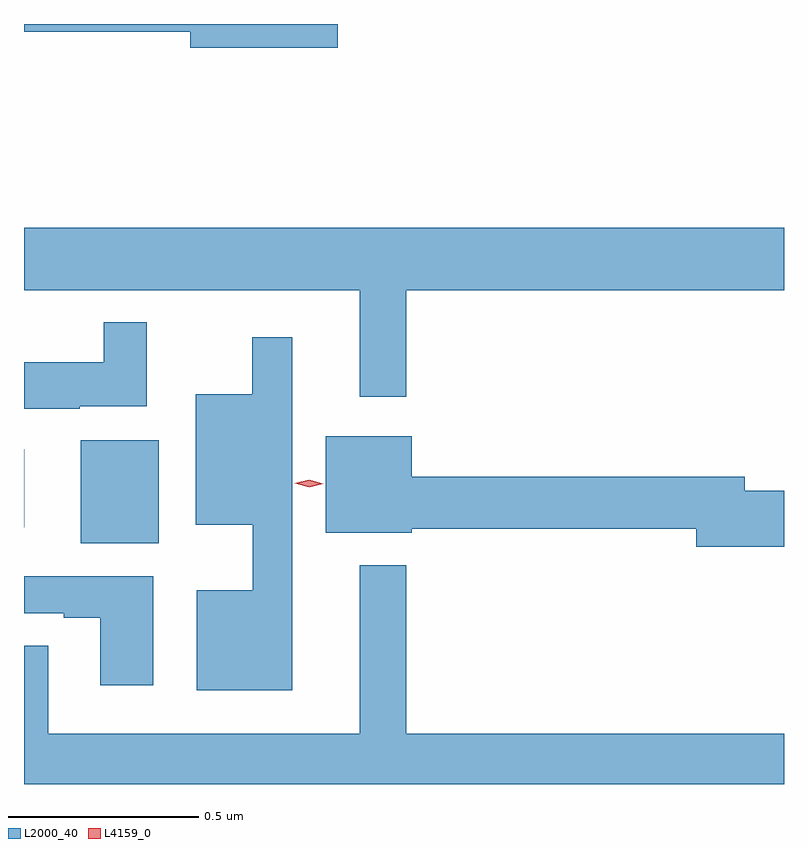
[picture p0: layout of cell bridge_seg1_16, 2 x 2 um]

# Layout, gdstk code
import gdstk
lib = gdstk.Library(unit=1e-6, precision=1e-09)
def R(c, l, rs):  # rectangles x0, y0, x1, y1
    for r in rs: c.add(gdstk.rectangle(r[:2], r[2:], *l))
def P(c, l, *ps):  # polygons
    for p in ps: c.add(gdstk.Polygon(p, *l))
L2000_40 = (2000, 40)
L4159_0 = (4159, 0)

bridge_seg1_16 = lib.new_cell('bridge_seg1_16')
R(bridge_seg1_16, L2000_40, [(838.826,523.094,839.032,523.364)])
P(bridge_seg1_16, L2000_40, [(839.503,524.46),(838.677,524.46),(838.677,524.44),(839.114,524.44),(839.114,524.398),(839.503,524.398)],
  [(839.683,523.76),(840.677,523.76),(840.677,523.924),(838.677,523.924),(838.677,523.76),(839.561,523.76),(839.561,523.479),(839.683,523.479)],
  [(838.824,523.454),(839,523.454),(839,523.675),(838.887,523.675),(838.887,523.57),(838.677,523.57),(838.677,523.448),(838.824,523.448)],
  [(839.383,523.636),(839.277,523.636),(839.277,523.486),(839.129,523.486),(839.129,523.142),(839.279,523.142),(839.279,522.97),(839.132,522.97),(839.132,522.707),(839.383,522.707)],
  [(840.677,523.232),(840.574,523.232),(840.574,523.268),(839.698,523.268),(839.698,523.375),(839.471,523.375),(839.471,523.121),(839.698,523.121),(839.698,523.132),(840.446,523.132),(840.446,523.085),(840.677,523.085)],
  [(838.678,523.34),(838.677,523.341),(838.677,523.136),(838.678,523.136)],
  [(840.677,522.592),(839.683,522.592),(839.683,523.036),(839.561,523.036),(839.561,522.592),(838.741,522.592),(838.741,522.824),(838.677,522.824),(838.677,522.46),(840.677,522.46)],
  [(839.017,523.007),(838.677,523.007),(838.677,522.909),(838.781,522.909),(838.781,522.897),(838.877,522.897),(838.877,522.72),(839.017,522.72)])
P(bridge_seg1_16, L4159_0, [(839.427,523.241),(839.389,523.251),(839.389,523.251),(839.389,523.251),(839.427,523.261),(839.465,523.25),(839.465,523.25),(839.465,523.25)])

lib.write_gds('bridge_seg1_16.gds')
